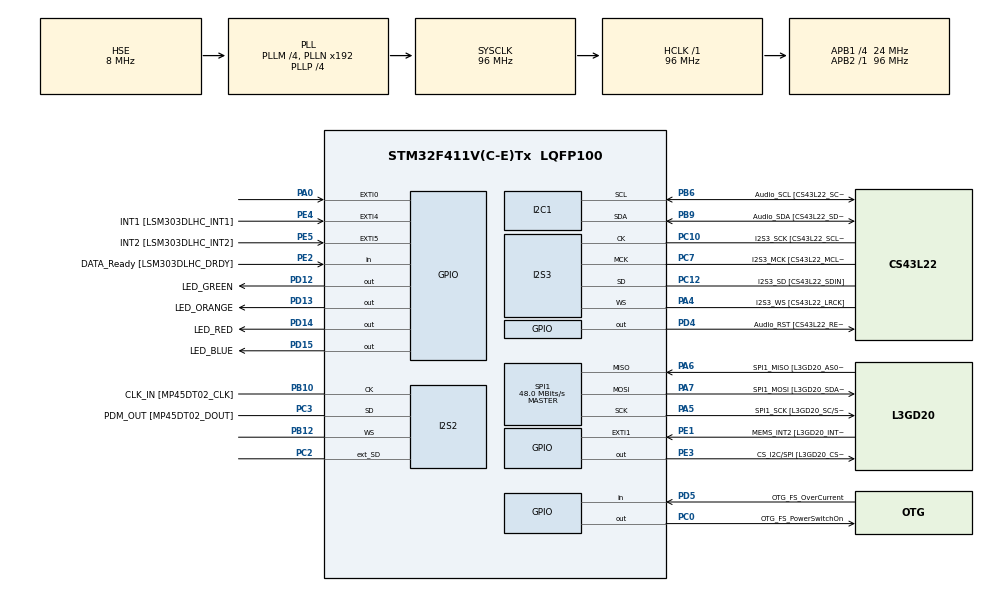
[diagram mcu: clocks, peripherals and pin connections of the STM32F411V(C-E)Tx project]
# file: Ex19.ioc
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FREERTOS.INCLUDE_vTaskDelayUntil=1
FREERTOS.Queues01=QS2A,1,uint16_t,0,Dynamic,NULL,NULL
FREERTOS.Tasks01=SensorMonitor,0,128,SensorMonitorTask,Default,NULL,Dynamic,NULL,NULL;Alarming,0,128,AlarmingTask,Default,NULL,Dynamic,NULL,NULL
FREERTOS.configUSE_NEWLIB_REENTRANT=1
I2S2.AudioFreq=I2S_AUDIOFREQ_96K
I2S2.ErrorAudioFreq=0.15 %
I2S2.FullDuplexMode=I2S_FULLDUPLEXMODE_ENABLE
I2S2.Instance=SPI$Index
I2S2.RealAudioFreq=96.153 KHz
I2S2.VirtualMode=I2S_MODE_MASTER
I2S3.AudioFreq=I2S_AUDIOFREQ_96K
I2S3.ErrorAudioFreq=-6.99 %
I2S3.FullDuplexMode=I2S_FULLDUPLEXMODE_DISABLE
I2S3.Instance=SPI$Index
I2S3.RealAudioFreq=89.285 KHz
I2S3.VirtualMode=I2S_MODE_MASTER
Mcu.Family=STM32F4
Mcu.Name=STM32F411V(C-E)Tx
Mcu.Package=LQFP100
NVIC.PriorityGroup=NVIC_PRIORITYGROUP_4
NVIC.TIM1_UP_TIM10_IRQn=true\:15\:0\:false\:false\:true\:false\:false\:true\:true
NVIC.TimeBase=TIM1_UP_TIM10_IRQn
NVIC.TimeBaseIP=TIM1
PA0-WKUP.GPIO_ModeDefaultEXTI=GPIO_MODE_EVT_RISING
PA0-WKUP.Signal=GPXTI0
PA10.GPIO_Label=OTG_FS_ID
PA10.Signal=USB_OTG_FS_ID
PA11.GPIO_Label=OTG_FS_DM
PA11.Signal=USB_OTG_FS_DM
PA12.GPIO_Label=OTG_FS_DP
PA12.Signal=USB_OTG_FS_DP
PA13.GPIO_Label=SWDIO
PA13.Mode=Serial_Wire
PA13.Signal=SYS_JTMS-SWDIO
PA14.GPIO_Label=SWCLK
PA14.Mode=Serial_Wire
PA14.Signal=SYS_JTCK-SWCLK
PA4.GPIO_Label=I2S3_WS [CS43L22_LRCK]
PA4.GPIO_Mode=GPIO_MODE_AF_PP
PA4.GPIO_PuPd=GPIO_NOPULL
PA4.GPIO_Speed=GPIO_SPEED_FREQ_LOW
PA4.Mode=Half_Duplex_Master
PA4.Signal=I2S3_WS
PA5.GPIO_Label=SPI1_SCK [L3GD20_SC/SPC]
PA5.Mode=Full_Duplex_Master
PA5.Signal=SPI1_SCK
PA6.GPIO_Label=SPI1_MISO [L3GD20_AS0/SDO]
PA6.Mode=Full_Duplex_Master
PA6.Signal=SPI1_MISO
PA7.GPIO_Label=SPI1_MOSI [L3GD20_SDA/SDI/SDO]
PA7.Mode=Full_Duplex_Master
PA7.Signal=SPI1_MOSI
PA9.GPIO_Label=VBUS_FS
PA9.Signal=USB_OTG_FS_VBUS
PB10.GPIO_Label=CLK_IN [MP45DT02_CLK]
PB10.Mode=Full_Duplex_Master
PB10.Signal=I2S2_CK
PB12.Mode=Full_Duplex_Master
PB12.Signal=I2S2_WS
PB3.GPIO_Label=SWO
PB3.Signal=SYS_JTDO-SWO
PB6.GPIO_Label=Audio_SCL [CS43L22_SCL]
PB6.GPIO_Mode=GPIO_MODE_AF_OD
PB6.GPIO_Pu=GPIO_PULLUP
PB6.GPIO_PuPd=GPIO_NOPULL
PB6.GPIO_Speed=GPIO_SPEED_FREQ_LOW
PB6.Mode=I2C
PB6.Signal=I2C1_SCL
PB9.GPIO_Label=Audio_SDA [CS43L22_SDA]
PB9.GPIO_Mode=GPIO_MODE_AF_OD
PB9.GPIO_Pu=GPIO_PULLUP
PB9.GPIO_PuPd=GPIO_NOPULL
PB9.GPIO_Speed=GPIO_SPEED_FREQ_LOW
PB9.Mode=I2C
PB9.Signal=I2C1_SDA
PC0.GPIO_Label=OTG_FS_PowerSwitchOn
PC0.PinState=GPIO_PIN_SET
PC0.Signal=GPIO_Output
PC10.GPIO_Label=I2S3_SCK [CS43L22_SCLK]
PC10.GPIO_Mode=GPIO_MODE_AF_PP
PC10.GPIO_PuPd=GPIO_NOPULL
PC10.GPIO_Speed=GPIO_SPEED_FREQ_LOW
PC10.Mode=Half_Duplex_Master
PC10.Signal=I2S3_CK
PC12.GPIO_Label=I2S3_SD [CS43L22_SDIN]
PC12.GPIO_Mode=GPIO_MODE_AF_PP
PC12.GPIO_PuPd=GPIO_NOPULL
PC12.GPIO_Speed=GPIO_SPEED_FREQ_LOW
PC12.Mode=Half_Duplex_Master
PC12.Signal=I2S3_SD
PC14-OSC32_IN.GPIO_Label=PC14-OSC32_IN
PC14-OSC32_IN.Mode=LSE-External-Oscillator
PC14-OSC32_IN.Signal=RCC_OSC32_IN
PC15-OSC32_OUT.GPIO_Label=PC15-OSC32_OUT
PC15-OSC32_OUT.Mode=LSE-External-Oscillator
PC15-OSC32_OUT.Signal=RCC_OSC32_OUT
PC2.Mode=Full_Duplex_Master
PC2.Signal=I2S2_ext_SD
PC3.GPIO_Label=PDM_OUT [MP45DT02_DOUT]
PC3.Mode=Full_Duplex_Master
PC3.Signal=I2S2_SD
PC7.GPIO_Label=I2S3_MCK [CS43L22_MCLK]
PC7.GPIO_Mode=GPIO_MODE_AF_PP
PC7.GPIO_PuPd=GPIO_NOPULL
PC7.GPIO_Speed=GPIO_SPEED_FREQ_LOW
PC7.Mode=Master_Clock_Activated
PC7.Signal=I2S3_MCK
PD12.GPIO_Label=LED_GREEN
PD12.GPIO_PuPd=GPIO_NOPULL
PD12.GPIO_Speed=GPIO_SPEED_FREQ_LOW
PD12.Signal=GPIO_Output
PD13.GPIO_Label=LED_ORANGE
PD13.GPIO_PuPd=GPIO_NOPULL
PD13.GPIO_Speed=GPIO_SPEED_FREQ_LOW
PD13.Signal=GPIO_Output
PD14.GPIO_Label=LED_RED
PD14.GPIO_PuPd=GPIO_NOPULL
PD14.GPIO_Speed=GPIO_SPEED_FREQ_LOW
PD14.Signal=GPIO_Output
PD15.GPIO_Label=LED_BLUE
PD15.GPIO_PuPd=GPIO_NOPULL
PD15.GPIO_Speed=GPIO_SPEED_FREQ_LOW
PD15.Signal=GPIO_Output
PD4.GPIO_Label=Audio_RST [CS43L22_RESET]
PD4.Signal=GPIO_Output
PD5.GPIO_Label=OTG_FS_OverCurrent
PD5.Signal=GPIO_Input
PE1.GPIO_Label=MEMS_INT2 [L3GD20_INT2]
PE1.GPIO_ModeDefaultEXTI=GPIO_MODE_EVT_RISING
PE1.Signal=GPXTI1
PE2.GPIO_Label=DATA_Ready [LSM303DLHC_DRDY]
PE2.Signal=GPIO_Input
PE3.GPIO_Label=CS_I2C/SPI [L3GD20_CS_I2C/SPI]
PE3.Signal=GPIO_Output
PE4.GPIO_Label=INT1 [LSM303DLHC_INT1]
PE4.GPIO_ModeDefaultEXTI=GPIO_MODE_EVT_RISING
PE4.Signal=GPXTI4
PE5.GPIO_Label=INT2 [LSM303DLHC_INT2]
PE5.GPIO_ModeDefaultEXTI=GPIO_MODE_EVT_RISING
PE5.Signal=GPXTI5
PH0\ -\ OSC_IN.GPIO_Label=PH0-OSC_IN
PH0\ -\ OSC_IN.Mode=HSE-External-Oscillator
PH0\ -\ OSC_IN.Signal=RCC_OSC_IN
PH1\ -\ OSC_OUT.GPIO_Label=PH1-OSC_OUT
PH1\ -\ OSC_OUT.Mode=HSE-External-Oscillator
PH1\ -\ OSC_OUT.Signal=RCC_OSC_OUT
ProjectManager.HeapSize=0x200
ProjectManager.StackSize=0x400
ProjectManager.TargetToolchain=STM32CubeIDE
RCC.48MHZClocksFreq_Value=48000000
RCC.AHBFreq_Value=96000000
RCC.APB1CLKDivider=RCC_HCLK_DIV4
RCC.APB1Freq_Value=24000000
RCC.APB1TimFreq_Value=48000000
RCC.APB2Freq_Value=96000000
RCC.APB2TimFreq_Value=96000000
RCC.CortexFreq_Value=96000000
RCC.HCLKFreq_Value=96000000
RCC.HSE_VALUE=8000000
RCC.HSI_VALUE=16000000
RCC.PLLI2SM=5
RCC.PLLI2SN=200
RCC.PLLM=4
RCC.PLLP=RCC_PLLP_DIV4
RCC.PLLQ=8
RCC.PLLSourceVirtual=RCC_PLLSOURCE_HSE
RCC.SYSCLKFreq_VALUE=96000000
RCC.SYSCLKSource=RCC_SYSCLKSOURCE_PLLCLK
RCC.VCOOutputFreq_Value=384000000
SPI1.BaudRatePrescaler=SPI_BAUDRATEPRESCALER_2
SPI1.CalculateBaudRate=48.0 MBits/s
SPI1.Direction=SPI_DIRECTION_2LINES
SPI1.Mode=SPI_MODE_MASTER
SPI1.VirtualType=VM_MASTER
VP_FREERTOS_VS_CMSIS_V1.Mode=CMSIS_V1
VP_SYS_VS_tim1.Mode=TIM1
board=STM32F411E-DISCO

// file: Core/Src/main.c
/* USER CODE BEGIN Header */
/**
  ******************************************************************************
  * @file           : main.c
  * @brief          : Main program body
  ******************************************************************************
  * @attention
  *
  * Copyright (c) 2024 STMicroelectronics.
  * All rights reserved.
  *
  * This software is licensed under terms that can be found in the LICENSE file
  * in the root directory of this software component.
  * If no LICENSE file comes with this software, it is provided AS-IS.
  *
  ******************************************************************************
  */
/* USER CODE END Header */
#include "main.h"
#include "cmsis_os.h"

/* USER CODE BEGIN PD */
#define PB GPIO_PIN_0
/* USER CODE END PD */

I2C_HandleTypeDef hi2c1;

I2S_HandleTypeDef hi2s2;
I2S_HandleTypeDef hi2s3;

SPI_HandleTypeDef hspi1;

osThreadId SensorMonitorHandle;
osThreadId AlarmingHandle;
osMessageQId QS2AHandle;

void SystemClock_Config(void);
void PeriphCommonClock_Config(void);
static void MX_GPIO_Init(void);
static void MX_I2C1_Init(void);
static void MX_I2S2_Init(void);
static void MX_I2S3_Init(void);
static void MX_SPI1_Init(void);
void SensorMonitorTask(void const * argument);
void AlarmingTask(void const * argument);

int main(void)
{

  /* MCU Configuration--------------------------------------------------------*/

  /* Reset of all peripherals, Initializes the Flash interface and the Systick. */
  HAL_Init();

  /* Configure the system clock */
  SystemClock_Config();

/* Configure the peripherals common clocks */
  PeriphCommonClock_Config();

  /* Initialize all configured peripherals */
  MX_GPIO_Init();
  MX_I2C1_Init();
  MX_I2S2_Init();
  MX_I2S3_Init();
  MX_SPI1_Init();

  /* Create the queue(s) */
  /* definition and creation of QS2A */
  osMessageQDef(QS2A, 1, uint16_t);
  QS2AHandle = osMessageCreate(osMessageQ(QS2A), NULL);

  /* Create the thread(s) */
  /* definition and creation of SensorMonitor */
  osThreadDef(SensorMonitor, SensorMonitorTask, osPriorityNormal, 0, 128);
  SensorMonitorHandle = osThreadCreate(osThread(SensorMonitor), NULL);

  /* definition and creation of Alarming */
  osThreadDef(Alarming, AlarmingTask, osPriorityNormal, 0, 128);
  AlarmingHandle = osThreadCreate(osThread(Alarming), NULL);

  /* Start scheduler */
  osKernelStart();

  /* We should never get here as control is now taken by the scheduler */

  /* Infinite loop */
  while (1)
  {

  }
}

void SystemClock_Config(void)
{
  RCC_OscInitTypeDef RCC_OscInitStruct = {0};
  RCC_ClkInitTypeDef RCC_ClkInitStruct = {0};

  /** Configure the main internal regulator output voltage
  */
  __HAL_RCC_PWR_CLK_ENABLE();
  __HAL_PWR_VOLTAGESCALING_CONFIG(PWR_REGULATOR_VOLTAGE_SCALE1);

  /** Initializes the RCC Oscillators according to the specified parameters
  * in the RCC_OscInitTypeDef structure.
  */
  RCC_OscInitStruct.OscillatorType = RCC_OSCILLATORTYPE_HSE;
  RCC_OscInitStruct.HSEState = RCC_HSE_ON;
  RCC_OscInitStruct.PLL.PLLState = RCC_PLL_ON;
  RCC_OscInitStruct.PLL.PLLSource = RCC_PLLSOURCE_HSE;
  RCC_OscInitStruct.PLL.PLLM = 4;
  RCC_OscInitStruct.PLL.PLLN = 192;
  RCC_OscInitStruct.PLL.PLLP = RCC_PLLP_DIV4;
  RCC_OscInitStruct.PLL.PLLQ = 8;
  if (HAL_RCC_OscConfig(&RCC_OscInitStruct) != HAL_OK)
  {
    Error_Handler();
  }

  /** Initializes the CPU, AHB and APB buses clocks
  */
  RCC_ClkInitStruct.ClockType = RCC_CLOCKTYPE_HCLK|RCC_CLOCKTYPE_SYSCLK
                              |RCC_CLOCKTYPE_PCLK1|RCC_CLOCKTYPE_PCLK2;
  RCC_ClkInitStruct.SYSCLKSource = RCC_SYSCLKSOURCE_PLLCLK;
  RCC_ClkInitStruct.AHBCLKDivider = RCC_SYSCLK_DIV1;
  RCC_ClkInitStruct.APB1CLKDivider = RCC_HCLK_DIV4;
  RCC_ClkInitStruct.APB2CLKDivider = RCC_HCLK_DIV1;

  if (HAL_RCC_ClockConfig(&RCC_ClkInitStruct, FLASH_LATENCY_3) != HAL_OK)
  {
    Error_Handler();
  }
}

void PeriphCommonClock_Config(void)
{
  RCC_PeriphCLKInitTypeDef PeriphClkInitStruct = {0};

  /** Initializes the peripherals clock
  */
  PeriphClkInitStruct.PeriphClockSelection = RCC_PERIPHCLK_I2S;
  PeriphClkInitStruct.PLLI2S.PLLI2SN = 200;
  PeriphClkInitStruct.PLLI2S.PLLI2SM = 5;
  PeriphClkInitStruct.PLLI2S.PLLI2SR = 2;
  if (HAL_RCCEx_PeriphCLKConfig(&PeriphClkInitStruct) != HAL_OK)
  {
    Error_Handler();
  }
}

static void MX_I2C1_Init(void)
{

  hi2c1.Instance = I2C1;
  hi2c1.Init.ClockSpeed = 100000;
  hi2c1.Init.DutyCycle = I2C_DUTYCYCLE_2;
  hi2c1.Init.OwnAddress1 = 0;
  hi2c1.Init.AddressingMode = I2C_ADDRESSINGMODE_7BIT;
  hi2c1.Init.DualAddressMode = I2C_DUALADDRESS_DISABLE;
  hi2c1.Init.OwnAddress2 = 0;
  hi2c1.Init.GeneralCallMode = I2C_GENERALCALL_DISABLE;
  hi2c1.Init.NoStretchMode = I2C_NOSTRETCH_DISABLE;
  if (HAL_I2C_Init(&hi2c1) != HAL_OK)
  {
    Error_Handler();
  }

}

static void MX_I2S2_Init(void)
{

  hi2s2.Instance = SPI2;
  hi2s2.Init.Mode = I2S_MODE_MASTER_TX;
  hi2s2.Init.Standard = I2S_STANDARD_PHILIPS;
  hi2s2.Init.DataFormat = I2S_DATAFORMAT_16B;
  hi2s2.Init.MCLKOutput = I2S_MCLKOUTPUT_DISABLE;
  hi2s2.Init.AudioFreq = I2S_AUDIOFREQ_96K;
  hi2s2.Init.CPOL = I2S_CPOL_LOW;
  hi2s2.Init.ClockSource = I2S_CLOCK_PLL;
  hi2s2.Init.FullDuplexMode = I2S_FULLDUPLEXMODE_ENABLE;
  if (HAL_I2S_Init(&hi2s2) != HAL_OK)
  {
    Error_Handler();
  }

}

static void MX_I2S3_Init(void)
{

  hi2s3.Instance = SPI3;
  hi2s3.Init.Mode = I2S_MODE_MASTER_TX;
  hi2s3.Init.Standard = I2S_STANDARD_PHILIPS;
  hi2s3.Init.DataFormat = I2S_DATAFORMAT_16B;
  hi2s3.Init.MCLKOutput = I2S_MCLKOUTPUT_ENABLE;
  hi2s3.Init.AudioFreq = I2S_AUDIOFREQ_96K;
  hi2s3.Init.CPOL = I2S_CPOL_LOW;
  hi2s3.Init.ClockSource = I2S_CLOCK_PLL;
  hi2s3.Init.FullDuplexMode = I2S_FULLDUPLEXMODE_DISABLE;
  if (HAL_I2S_Init(&hi2s3) != HAL_OK)
  {
    Error_Handler();
  }

}

static void MX_SPI1_Init(void)
{

  /* SPI1 parameter configuration*/
  hspi1.Instance = SPI1;
  hspi1.Init.Mode = SPI_MODE_MASTER;
  hspi1.Init.Direction = SPI_DIRECTION_2LINES;
  hspi1.Init.DataSize = SPI_DATASIZE_8BIT;
  hspi1.Init.CLKPolarity = SPI_POLARITY_LOW;
  hspi1.Init.CLKPhase = SPI_PHASE_1EDGE;
  hspi1.Init.NSS = SPI_NSS_SOFT;
  hspi1.Init.BaudRatePrescaler = SPI_BAUDRATEPRESCALER_2;
  hspi1.Init.FirstBit = SPI_FIRSTBIT_MSB;
  hspi1.Init.TIMode = SPI_TIMODE_DISABLE;
  hspi1.Init.CRCCalculation = SPI_CRCCALCULATION_DISABLE;
  hspi1.Init.CRCPolynomial = 10;
  if (HAL_SPI_Init(&hspi1) != HAL_OK)
  {
    Error_Handler();
  }

}

static void MX_GPIO_Init(void)
{
  GPIO_InitTypeDef GPIO_InitStruct = {0};

  /* GPIO Ports Clock Enable */
  __HAL_RCC_GPIOE_CLK_ENABLE();
  __HAL_RCC_GPIOC_CLK_ENABLE();
  __HAL_RCC_GPIOH_CLK_ENABLE();
  __HAL_RCC_GPIOA_CLK_ENABLE();
  __HAL_RCC_GPIOB_CLK_ENABLE();
  __HAL_RCC_GPIOD_CLK_ENABLE();

  /*Configure GPIO pin Output Level */
  HAL_GPIO_WritePin(CS_I2C_SPI_GPIO_Port, CS_I2C_SPI_Pin, GPIO_PIN_RESET);

  /*Configure GPIO pin Output Level */
  HAL_GPIO_WritePin(OTG_FS_PowerSwitchOn_GPIO_Port, OTG_FS_PowerSwitchOn_Pin, GPIO_PIN_SET);

  /*Configure GPIO pin Output Level */
  HAL_GPIO_WritePin(GPIOD, LED_GREEN_Pin|LED_ORANGE_Pin|LED_RED_Pin|LED_BLUE_Pin
                          |Audio_RST_Pin, GPIO_PIN_RESET);

  /*Configure GPIO pin : DATA_Ready_Pin */
  GPIO_InitStruct.Pin = DATA_Ready_Pin;
  GPIO_InitStruct.Mode = GPIO_MODE_INPUT;
  GPIO_InitStruct.Pull = GPIO_NOPULL;
  HAL_GPIO_Init(DATA_Ready_GPIO_Port, &GPIO_InitStruct);

  /*Configure GPIO pin : CS_I2C_SPI_Pin */
  GPIO_InitStruct.Pin = CS_I2C_SPI_Pin;
  GPIO_InitStruct.Mode = GPIO_MODE_OUTPUT_PP;
  GPIO_InitStruct.Pull = GPIO_NOPULL;
  GPIO_InitStruct.Speed = GPIO_SPEED_FREQ_LOW;
  HAL_GPIO_Init(CS_I2C_SPI_GPIO_Port, &GPIO_InitStruct);

  /*Configure GPIO pins : INT1_Pin INT2_Pin MEMS_INT2_Pin */
  GPIO_InitStruct.Pin = INT1_Pin|INT2_Pin|MEMS_INT2_Pin;
  GPIO_InitStruct.Mode = GPIO_MODE_EVT_RISING;
  GPIO_InitStruct.Pull = GPIO_NOPULL;
  HAL_GPIO_Init(GPIOE, &GPIO_InitStruct);

  /*Configure GPIO pin : OTG_FS_PowerSwitchOn_Pin */
  GPIO_InitStruct.Pin = OTG_FS_PowerSwitchOn_Pin;
  GPIO_InitStruct.Mode = GPIO_MODE_OUTPUT_PP;
  GPIO_InitStruct.Pull = GPIO_NOPULL;
  GPIO_InitStruct.Speed = GPIO_SPEED_FREQ_LOW;
  HAL_GPIO_Init(OTG_FS_PowerSwitchOn_GPIO_Port, &GPIO_InitStruct);

  /*Configure GPIO pin : PA0 */
  GPIO_InitStruct.Pin = GPIO_PIN_0;
  GPIO_InitStruct.Mode = GPIO_MODE_EVT_RISING;
  GPIO_InitStruct.Pull = GPIO_NOPULL;
  HAL_GPIO_Init(GPIOA, &GPIO_InitStruct);

  /*Configure GPIO pins : LED_GREEN_Pin LED_ORANGE_Pin LED_RED_Pin LED_BLUE_Pin
                           Audio_RST_Pin */
  GPIO_InitStruct.Pin = LED_GREEN_Pin|LED_ORANGE_Pin|LED_RED_Pin|LED_BLUE_Pin
                          |Audio_RST_Pin;
  GPIO_InitStruct.Mode = GPIO_MODE_OUTPUT_PP;
  GPIO_InitStruct.Pull = GPIO_NOPULL;
  GPIO_InitStruct.Speed = GPIO_SPEED_FREQ_LOW;
  HAL_GPIO_Init(GPIOD, &GPIO_InitStruct);

  /*Configure GPIO pin : VBUS_FS_Pin */
  GPIO_InitStruct.Pin = VBUS_FS_Pin;
  GPIO_InitStruct.Mode = GPIO_MODE_INPUT;
  GPIO_InitStruct.Pull = GPIO_NOPULL;
  HAL_GPIO_Init(VBUS_FS_GPIO_Port, &GPIO_InitStruct);

  /*Configure GPIO pins : OTG_FS_ID_Pin OTG_FS_DM_Pin OTG_FS_DP_Pin */
  GPIO_InitStruct.Pin = OTG_FS_ID_Pin|OTG_FS_DM_Pin|OTG_FS_DP_Pin;
  GPIO_InitStruct.Mode = GPIO_MODE_AF_PP;
  GPIO_InitStruct.Pull = GPIO_NOPULL;
  GPIO_InitStruct.Speed = GPIO_SPEED_FREQ_VERY_HIGH;
  GPIO_InitStruct.Alternate = GPIO_AF10_OTG_FS;
  HAL_GPIO_Init(GPIOA, &GPIO_InitStruct);

  /*Configure GPIO pin : OTG_FS_OverCurrent_Pin */
  GPIO_InitStruct.Pin = OTG_FS_OverCurrent_Pin;
  GPIO_InitStruct.Mode = GPIO_MODE_INPUT;
  GPIO_InitStruct.Pull = GPIO_NOPULL;
  HAL_GPIO_Init(OTG_FS_OverCurrent_GPIO_Port, &GPIO_InitStruct);

}

void SensorMonitorTask(void const * argument)
{
  /* USER CODE BEGIN 5 */
	int push_button;
	int alarmState = 0;
  /* Infinite loop */
  for(;;)
  {
	  push_button = HAL_GPIO_ReadPin(GPIOA, PB);

	  if (push_button == GPIO_PIN_SET)
	  {
		  HAL_GPIO_WritePin(GPIOD, LED_BLUE_Pin, GPIO_PIN_SET);
		  alarmState++;
	  }
	  else
	  {
		  HAL_GPIO_WritePin(GPIOD, LED_BLUE_Pin, GPIO_PIN_RESET);
	  }

	  if(alarmState == 1){
		  HAL_GPIO_WritePin(GPIOD, LED_ORANGE_Pin, GPIO_PIN_SET);
		  osMessagePut(QS2AHandle, alarmState, 1000);
	  }
	  else if(alarmState > 1){
		  HAL_GPIO_WritePin(GPIOD, LED_ORANGE_Pin, GPIO_PIN_RESET);
		  alarmState = 0;
		  osMessagePut(QS2AHandle, alarmState, 1000);
	  }
  }//for
  /* USER CODE END 5 */
}

void AlarmingTask(void const * argument)
{
  /* USER CODE BEGIN AlarmingTask */
	osEvent QueReadState;
	int SensorState;
  /* Infinite loop */
  for(;;)
  {
	  QueReadState = osMessageGet(QS2AHandle, 0);

    if(QueReadState.status == osEventMessage)
    {
    	SensorState = QueReadState.value.v;
    	if(SensorState == 1)
    	{
    		HAL_GPIO_WritePin(GPIOD, LED_RED_Pin, GPIO_PIN_SET);
    	}
    	else if(SensorState == 0)
    	{
    		HAL_GPIO_WritePin(GPIOD, LED_RED_Pin, GPIO_PIN_RESET);
    	}
    }//if
    osDelay(500);
  }//for
  /* USER CODE END AlarmingTask */
}

void HAL_TIM_PeriodElapsedCallback(TIM_HandleTypeDef *htim)
{
  if (htim->Instance == TIM1) {
    HAL_IncTick();
  }
}

void Error_Handler(void)
{
  __disable_irq();
  while (1)
  {
  }
}
